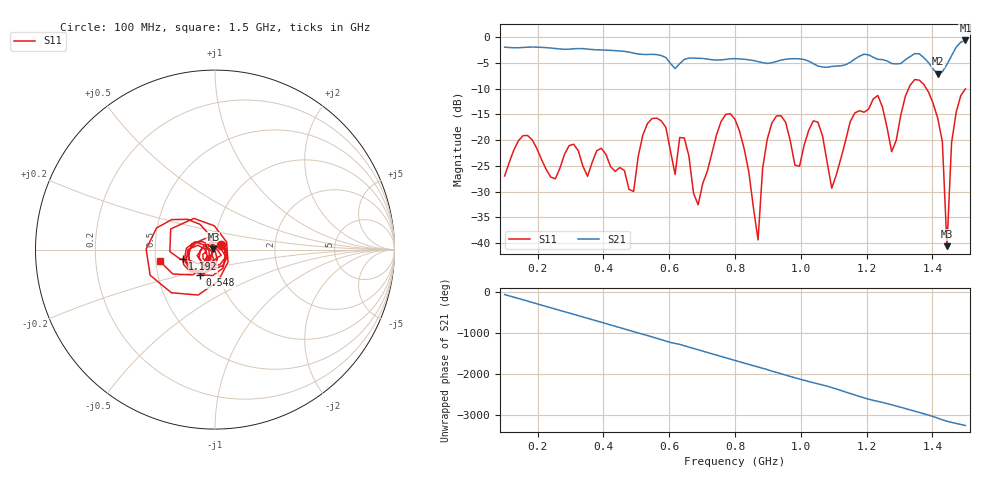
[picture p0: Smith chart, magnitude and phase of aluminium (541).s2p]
! NanoVNA-App
! Date: 2025-09-25 14:59:29
! Start: 100MHz Stop: 1,5GHz Points: 101
! S-Parameter data: F S11 S21 S12 S22
# Hz S RI R 50
!  Frequency  S11_Real  S11_Imag  S21_Real  S21_Imag  S12_Real  S12_Imag  S22_Real  S22_Imag
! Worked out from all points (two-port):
!   101 points, 100 MHz to 1.5 GHz, reference 50 ohm
!   highest |S21| = -0.61 dB at 1.5 GHz (marker M1); lowest = -7.1 dB at 1.416 GHz (marker M2)
!   |S21| within 3 dB of the highest: start of sweep to 578.4 MHz; 1.458 GHz to end of sweep (the widest 2 of 4)
!   lowest |S11| = -40.6 dB at 1.444 GHz (marker M3), VSWR 1.02, Z = 49.1 + j0.26 ohm
!   |S11| at or under -10 dB: start of sweep to 1.327 GHz; 1.382 GHz to end of sweep
!   S12 and S22 are empty: the file has one direction only
!   S11 on the Smith chart (normalised r, x): 100 MHz: 1.07, +0.06; 548 MHz: 0.82, -0.24; 1.192 GHz: 0.69, -0.07; 1.5 GHz: 0.52, -0.07
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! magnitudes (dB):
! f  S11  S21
! 100 MHz  -27.0  -1.9
! 156 MHz  -19.1  -2.0
! 338 MHz  -25.1  -2.2
! 492 MHz  -30.0  -3.1
! 548 MHz  -15.8  -3.3
! 576 MHz  -16.2  -3.5
! 688 MHz  -32.6  -4.1
! 800 MHz  -15.9  -4.1
! 870 MHz  -39.4  -4.7
! 912 MHz  -16.7  -4.9
! 996 MHz  -25.1  -4.2
! 1.038 GHz  -16.2  -5.1
! 1.094 GHz  -29.3  -5.7
! 1.192 GHz  -14.6  -3.3
! 1.234 GHz  -11.3  -4.3
! 1.276 GHz  -22.2  -5.1
! 1.346 GHz  -8.2  -3.2
! 1.416 GHz  -15.7  -7.1
! 1.43 GHz  -20.3  -6.7
! 1.444 GHz  -40.6  -5.3
! 1.458 GHz  -20.5  -3.6
! 1.5 GHz  -10.0  -0.6
